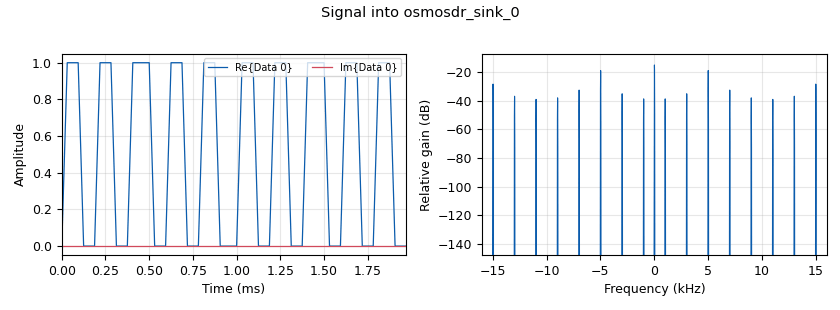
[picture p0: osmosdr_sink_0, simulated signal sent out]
options:
  parameters:
    author: sten
    generate_options: qt_gui
    id: Labo_6
    output_language: python
    title: Oefening 3
  states: {}

blocks:
- name: chkbox
  id: variable_qtgui_check_box
  parameters:
    'false': '0'
    label: chkbox
    'true': '1'
    type: int
    value: '0'
  states: {}
- name: samp_rate
  id: variable
  parameters:
    value: '32000'
  states: {}
- name: analog_const_source_x_0
  id: analog_const_source_x
  parameters:
    const: '0'
    type: float
  states: {}
- name: analog_sig_source_x_0
  id: analog_sig_source_x
  parameters:
    amp: '1'
    freq: '-5000'
    offset: '0'
    phase: '0'
    samp_rate: samp_rate
    type: float
    waveform: analog.GR_SQR_WAVE
  states: {}
- name: analog_sig_source_x_1
  id: analog_sig_source_x
  parameters:
    amp: '1'
    freq: '5000'
    offset: '0'
    phase: '0'
    samp_rate: samp_rate
    type: float
    waveform: analog.GR_SQR_WAVE
  states: {}
- name: blocks_add_xx_0
  id: blocks_add_xx
  parameters:
    type: float
  states: {}
- name: blocks_float_to_complex_0
  id: blocks_float_to_complex
  parameters: {}
  states: {}
- name: blocks_multiply_const_vxx_0
  id: blocks_multiply_const_vxx
  parameters:
    const: chkbox
    type: float
  states: {}
- name: blocks_multiply_const_vxx_0_0
  id: blocks_multiply_const_vxx
  parameters:
    const: 1-chkbox
    type: float
  states: {}
- name: osmosdr_sink_0
  id: osmosdr_sink
  parameters:
    bb_gain0: '20'
    freq0: '27.245'
    gain0: '26'
    if_gain0: '26'
    sample_rate: samp_rate
    sync: sync
    type: fc32
  states: {}

connections:
- [analog_const_source_x_0, '0', blocks_float_to_complex_0, '1']
- [analog_sig_source_x_0, '0', blocks_multiply_const_vxx_0_0, '0']
- [analog_sig_source_x_1, '0', blocks_multiply_const_vxx_0, '0']
- [blocks_add_xx_0, '0', blocks_float_to_complex_0, '0']
- [blocks_float_to_complex_0, '0', osmosdr_sink_0, '0']
- [blocks_multiply_const_vxx_0, '0', blocks_add_xx_0, '0']
- [blocks_multiply_const_vxx_0_0, '0', blocks_add_xx_0, '1']

metadata:
  file_format: 1
